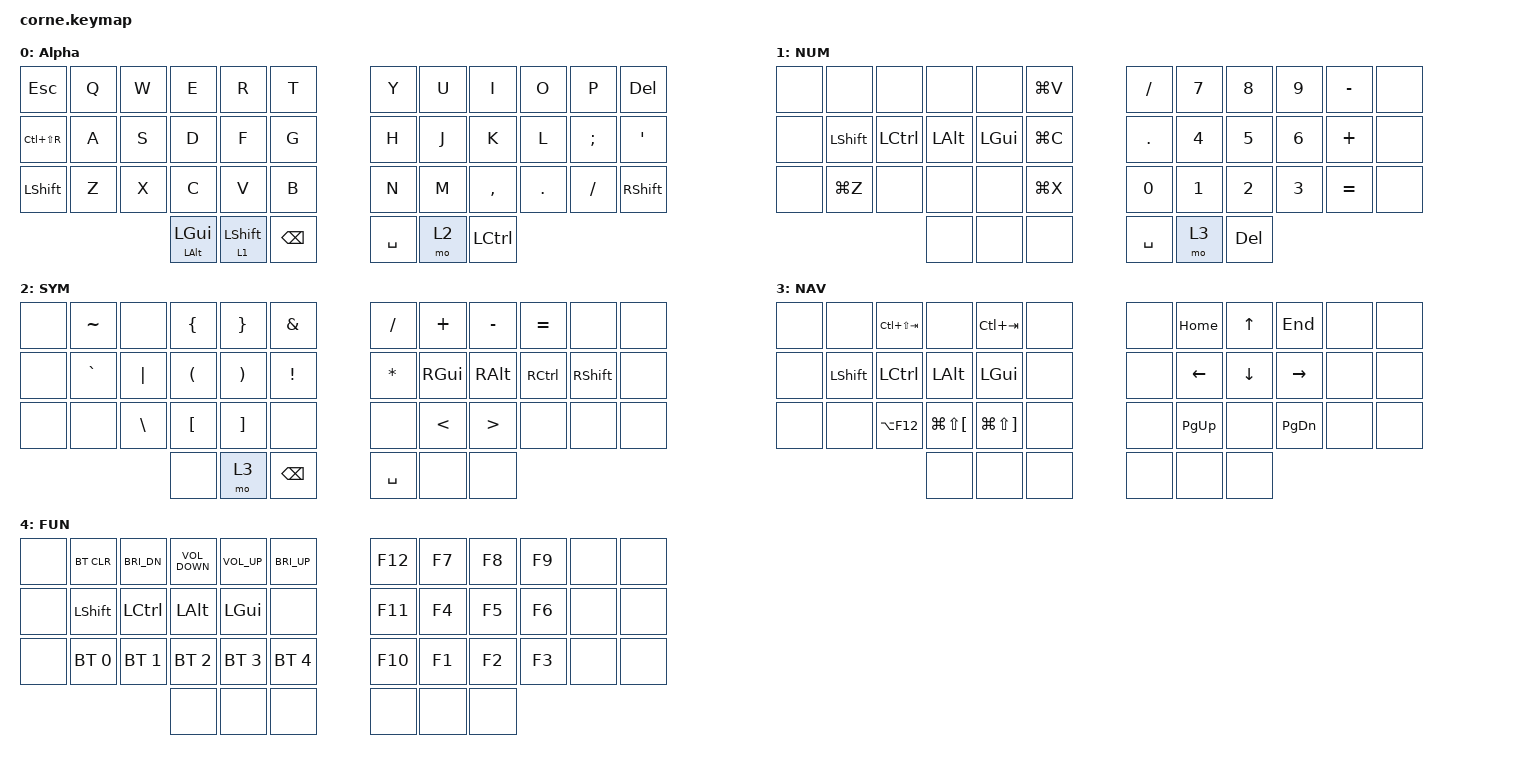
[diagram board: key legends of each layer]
/*
 * Copyright (c) 2020 The ZMK Contributors
 *
 * SPDX-License-Identifier: MIT
 */

#include <behaviors.dtsi>
#include <dt-bindings/zmk/keys.h>
#include <dt-bindings/zmk/bt.h>

/ {
combos {
        compatible = "zmk,combos";

        combo_tab {
            bindings = <&kp TAB>;
            key-positions = <27 28>;
        };

        combo_exclam {
            bindings = <&kp LS(NUMBER_1)>;
            key-positions = <16 17>;
        };

        combo_enter {
            bindings = <&kp ENTER>;
            key-positions = <31 32>;
        };

        combo_caps {
            bindings = <&caps_word>;
            key-positions = <29 30>;
        };

        combo_fun {
            bindings = <&mo 4>;
            key-positions = <36 41>;
        };

        combo_esc {
            bindings = <&kp ESC>;
            key-positions = <0 1>;
        };

        combo_quote {
            timeout-ms = <30>;
            bindings = <&kp SQT>;
            key-positions = <8 9>;
        };

        combo_tac {
            bindings = <&kp MINUS>;
            key-positions = <2 3>;
        };

        combo_mo3_1 {
            timeout-ms = <75>;
            bindings = <&mo 3>;
            key-positions = <38 39>;
        };

        combo_mo3_2 {
            bindings = <&mo 3>;
            key-positions = <37 40>;
        };
    };

    //

    behaviors {
        skq: sticky_key_quick_release {
            compatible = "zmk,behavior-sticky-key";
            #binding-cells = <1>;
            bindings = <&kp>;
            release-after-ms = <1000>;
            quick-release;
        };

        rpi: require_prior_idle {
            compatible = "zmk,behavior-hold-tap";
            #binding-cells = <2>;
            flavor = "tap-preferred";
            tapping-term-ms = <200>;
            quick-tap-ms = <200>;
            require-prior-idle-ms = <125>;
            bindings = <&mo>, <&skq>;
        };

        rpi2: require_prior_idle2 {
            compatible = "zmk,behavior-hold-tap";
            #binding-cells = <2>;
            flavor = "tap-preferred";
            tapping-term-ms = <200>;
            quick-tap-ms = <200>;
            require-prior-idle-ms = <125>;
            bindings = <&kp>, <&skq>;
        };
    };

        keymap {
                compatible = "zmk,keymap";

                alpha {
// -----------------------------------------------------------------------------------------
// |  ESC |  Q  |  W  |  E  |  R  |  T   |_____|  Y  |  U   |  I  |  O  |  P  | DEL  |
// | TEST |  A  |  S  |  D  |  F  |  G   |_____|  H  |  J   |  K  |  L  |  ;  |  '   |
// | SHFT |  Z  |  X  |  C  |  V  |  B   |_____|  N  |  M   |  ,  |  .  |  /  | SHFT |
//           | cmd/opt | shft/mo1 | BSPC |_____| SPC | mo2  | CTRL |
                        display-name = "Alpha";
                        bindings = <
   &kp ESC        &kp Q  &kp W   &kp E   &kp R   &kp T       &kp Y   &kp U   &kp I      &kp O    &kp P     &kp DEL
   &kp LC(LS(R))  &kp A  &kp S   &kp D   &kp F   &kp G       &kp H   &kp J   &kp K      &kp L    &kp SEMI  &kp SQT
   &kp LSHFT      &kp Z  &kp X   &kp C   &kp V   &kp B       &kp N   &kp M   &kp COMMA  &kp DOT  &kp FSLH  &kp RSHFT
              &rpi2 LALT LGUI    &rpi 1 LSHFT    &kp BSPC    &kp SPACE   &mo 2   &kp LCTRL
                        >;
                };

                num_layer {
// -----------------------------------------------------------------------------------------
// | na |  na  |  na  |  na  | na  | PSTE |_____|  /  |  7  |  8  |  9  |  -  | na |
// | na | SHFT | CTRL |  ALT | GUI | COPY |_____|  .  |  4  |  5  |  6  |  +  | na |
// | na | UNDO |  na  |  na  | na  | CUT  |_____|  0  |  1  |  2  |  3  |  =  | na |
//                    |  na  |  na |  na  |_____| SPC | mo3 | DEL |
                        display-name = "NUM";
                        bindings = <
   &none    &none      &none      &none     &none     &kp LG(V)        &kp FSLH    &kp N7    &kp N8    &kp N9    &kp MINUS    &none
   &none    &kp LSHFT  &kp LCTRL  &kp LALT  &kp LGUI  &kp LG(C)        &kp DOT     &kp N4    &kp N5    &kp N6    &kp PLUS     &none
   &none    &kp LG(Z)  &none      &none     &none     &kp LG(X)        &kp N0      &kp N1    &kp N2    &kp N3    &kp EQUAL    &none
                          	      &none     &none     &none            &kp SPACE   &mo 3     &kp DEL
                        >;
                };

                symbol_layer {
// -----------------------------------------------------------------------------------------
// |  TAB |  !  |  @  |  #  |  $  |  %  |   |  ^  |  &  |  *  |  (  |  )  | BKSP |
// | CTRL |     |     |     |     |     |   |  -  |  =  |  [  |  ]  |  \  |  `   |
// | SHFT |     |     |     |     |     |   |  _  |  +  |  {  |  }  | "|" |  ~   |
//                    | GUI |     | SPC |   | ENT |     | ALT |
                        display-name = "SYM";
                        bindings = <
   &none  &kp TILDE  &none     &kp LEFT_BRACE        &kp RIGHT_BRACE        &kp AMPERSAND      &kp FSLH  &kp PLUS       &kp MINUS         &kp EQUAL  &none &none
   &none  &kp GRAVE  &kp PIPE  &kp LEFT_PARENTHESIS  &kp RIGHT_PARENTHESIS  &kp EXCLAMATION    &kp STAR  &kp RGUI       &kp RALT          &kp RCTRL  &kp RSHFT &none
   &none  &none      &kp BSLH  &kp LBKT              &kp RBKT               &none              &none     &kp LESS_THAN  &kp GREATER_THAN  &none      &none &none
                    	     &none              &mo 3                  &kp BSPC              &kp SPACE     &none      &none
                        >;
                };

                nav_layer {
// -----------------------------------------------------------------------------------------
// |      | TABL |     | TABR |    |_____|    | HOME |  UP  | END  |    |
// | SHFT | CTRL | ALT | GUI  |    |_____|    | LEFT | DOWN | RGHT |    |
// |      |      |     |      |    |_____|    | PGUP |      | PGDN |    |
//               | BSP |      |    |_____|    | SPC  | DEL  |

                            display-name = "NAV";
                            bindings = <
    &none  &none      &kp LC(LS(TAB))  &none     &kp LC(TAB)  &none    &none  &kp HOME     &kp UP    &kp END        &none  &none
    &none  &kp LSHFT  &kp LCTRL        &kp LALT  &kp LGUI     &none    &none  &kp LEFT     &kp DOWN  &kp RIGHT      &none  &none
    &none  &none      &kp LA(F12)      &kp LG(LS(LBKT))       &kp LG(LS(RBKT))      &none    &none  &kp PAGE_UP  &none     &kp PAGE_DOWN  &none  &none
                                 &none  &none        &none    &none  &none    &none
                            >;
                        };

                function_layer {
// -----------------------------------------------------------------------------------------
// | BTCL | BRDN | VLDN | VLUP | BRUP |_____| F12 | F7  | F8  | F9 |    |
// | SHFT | CTRL | ALT  | GUI  |      |_____| F11 | F4  | F5  | F6 |    |
// | BT1  | BT2  | BT3  | BT4  | BT5  |_____| F10 | F1  | F2  | F3 |    |
//               | BSP  |      |      |_____|     | SPC | DEL |

                            display-name = "FUN";
                            bindings = <
    &none  &bt BT_CLR    &kp C_BRI_DN  &kp C_VOLUME_DOWN  &kp C_VOLUME_UP  &kp C_BRI_UP    &kp F12  &kp F7     &kp F8   &kp F9  &none  &none
    &none  &kp LSHFT     &kp LCTRL     &kp LALT           &kp LGUI         &none           &kp F11  &kp F4     &kp F5   &kp F6  &none  &none
    &none  &bt BT_SEL 0  &bt BT_SEL 1  &bt BT_SEL 2       &bt BT_SEL 3     &bt BT_SEL 4    &kp F10  &kp F1     &kp F2   &kp F3  &none  &none
                                              &none           &none            &none           &none    &none  &none
                            >;
                        };
        };
};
